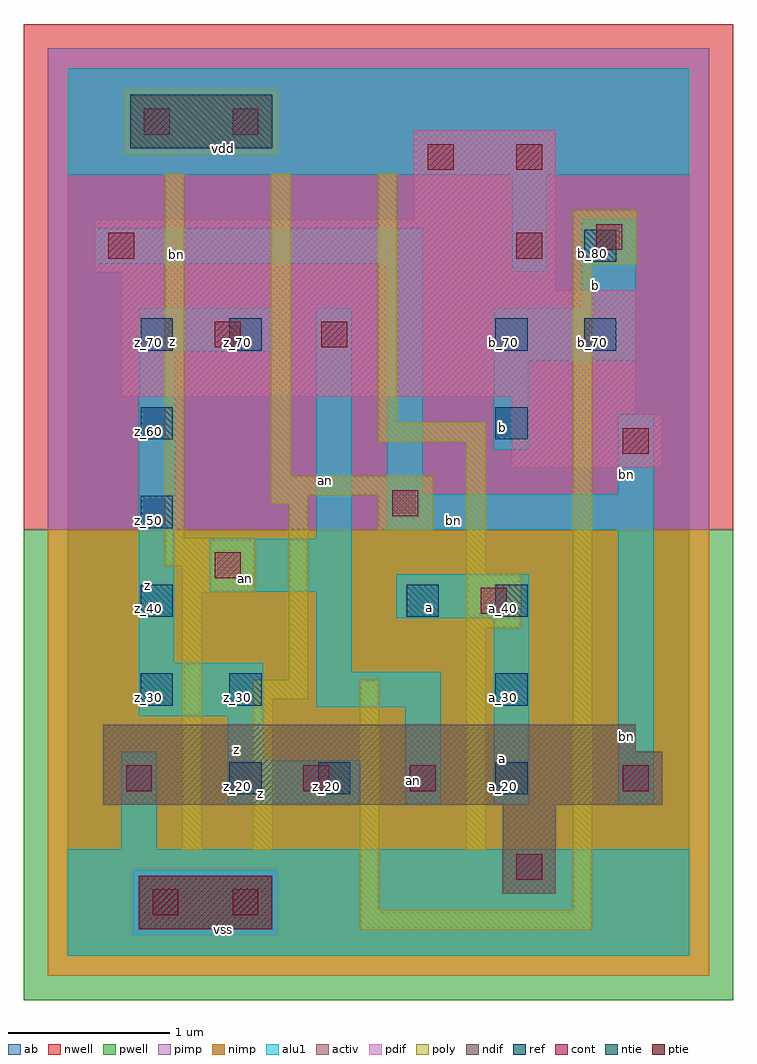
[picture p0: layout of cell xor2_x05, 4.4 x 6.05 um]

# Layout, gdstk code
import gdstk
lib = gdstk.Library(unit=1e-6, precision=2.5e-09)
def R(c, l, rs):  # rectangles x0, y0, x1, y1
    for r in rs: c.add(gdstk.rectangle(r[:2], r[2:], *l))
def A(c, l, x, y, w, h, nx, ny, dx, dy):  # array of equal rectangles
    R(c, l, [(x+i*dx, y+j*dy, x+i*dx+w, y+j*dy+h) for i in range(nx) for j in range(ny)])
ndif = (3, 0)
pdif = (4, 0)
ntie = (5, 0)
ptie = (6, 0)
ref = (24, 0)
cont = (25, 0)
pwell = (41, 0)
nwell = (42, 0)
activ = (43, 0)
pimp = (44, 0)
nimp = (45, 0)
poly = (46, 0)
alu1 = (49, 0)
ab = (63, 0)

xor2_x05 = lib.new_cell('xor2_x05')
R(xor2_x05, ndif, [(2.695,0.385,3.025,0.935), (0.22,0.935,3.685,1.265), (0.22,1.265,3.52,1.43)])
R(xor2_x05, pdif, [(2.75,3.025,3.685,3.355), (2.75,3.355,3.52,3.465), (0.33,3.465,3.52,4.125), (0.33,4.125,3.025,4.235), (0.165,4.235,3.025,4.565), (2.145,4.565,3.025,5.115)])
R(xor2_x05, ntie, [(0.385,5.005,1.265,5.335)])
R(xor2_x05, ptie, [(0.44,0.165,1.265,0.495)])
A(xor2_x05, ref, 2.65, 1, 0.2, 0.2, 1, 3, 0, 0.55)
A(xor2_x05, ref, 0.45, 1.55, 0.2, 0.2, 1, 5, 0, 0.55)
R(xor2_x05, ref, [(1,1,1.2,1.2), (1.55,1,1.75,1.2), (1,1.55,1.2,1.75), (2.1,2.1,2.3,2.3), (2.65,3.2,2.85,3.4), (1,3.75,1.2,3.95), (2.65,3.75,2.85,3.95), (3.2,3.75,3.4,3.95), (3.2,4.3,3.4,4.5)])
R(xor2_x05, cont, [(0.525,0.25,0.685,0.41), (1.02,0.25,1.18,0.41), (2.78,0.47,2.94,0.63), (0.36,1.02,0.52,1.18), (1.46,1.02,1.62,1.18), (2.12,1.02,2.28,1.18), (3.44,1.02,3.6,1.18), (2.56,2.12,2.72,2.28), (0.91,2.34,1.07,2.5), (2.01,2.725,2.17,2.885), (3.44,3.11,3.6,3.27), (0.91,3.77,1.07,3.93), (1.57,3.77,1.73,3.93), (0.25,4.32,0.41,4.48), (2.78,4.32,2.94,4.48), (3.275,4.375,3.435,4.535), (2.23,4.87,2.39,5.03), (2.78,4.87,2.94,5.03), (0.47,5.09,0.63,5.25), (1.02,5.09,1.18,5.25)])
R(xor2_x05, pwell, [(-0.275,-0.275,4.125,2.64)])
R(xor2_x05, nwell, [(-0.275,2.64,4.125,5.775)])
R(xor2_x05, activ, [(0.44,0.165,1.265,0.495), (2.695,0.385,3.025,0.935), (0.22,0.935,3.685,1.265), (0.22,1.265,3.52,1.43), (2.75,3.025,3.685,3.355), (2.75,3.355,3.52,3.465), (0.33,3.465,3.52,4.125), (0.33,4.125,3.025,4.235), (0.165,4.235,3.025,4.565), (2.145,4.565,3.025,5.115), (0.385,5.005,1.265,5.335)])
R(xor2_x05, pimp, [(0.4,0.125,1.305,0.535), (-0.125,2.64,3.975,4.965), (-0.125,4.965,0.345,5.375), (1.305,4.965,3.975,5.375), (-0.125,5.375,3.975,5.625)])
R(xor2_x05, nimp, [(-0.125,-0.125,3.975,0.125), (-0.125,0.125,0.4,0.535), (1.305,0.125,3.975,0.535), (-0.125,0.535,3.975,2.64), (0.345,4.965,1.305,5.375)])
R(xor2_x05, poly, [(1.81,0.16,3.25,0.28), (1.81,0.28,1.93,1.71), (3.13,0.28,3.25,4.285), (0.71,0.655,0.83,2.25), (1.15,0.655,1.27,1.59), (2.47,0.655,2.59,2.03), (1.15,1.59,1.49,1.71), (1.37,1.71,1.49,2.8), (2.47,2.03,2.81,2.37), (0.71,2.25,1.16,2.415), (2.47,2.37,2.59,3.185), (0.6,2.415,1.16,2.59), (0.6,2.59,0.72,4.845), (1.92,2.635,2.26,2.855), (1.26,2.8,1.49,2.855), (1.26,2.855,2.26,2.975), (1.26,2.975,1.38,4.845), (1.92,3.185,2.59,3.305), (1.92,3.305,2.04,4.845), (3.13,4.285,3.525,4.625)])
R(xor2_x05, alu1, [(0,0,3.85,0.66), (0.33,0.66,0.55,1.265), (0.99,0.935,1.815,1.21), (2.09,0.935,2.31,1.54), (2.64,0.935,2.86,2.09), (3.41,0.935,3.63,2.64), (0.99,1.21,1.21,1.485), (0.44,1.485,1.21,1.815), (1.54,1.54,2.31,1.76), (1.54,1.76,1.76,2.255), (0.44,1.815,0.66,3.74), (2.035,2.09,2.86,2.365), (0.88,2.255,1.76,2.585), (1.54,2.585,1.76,4.015), (1.98,2.64,3.63,2.86), (1.98,2.86,2.2,4.29), (3.41,2.86,3.63,3.355), (2.64,3.135,2.86,3.685), (2.64,3.685,3.52,4.015), (0.44,3.74,1.265,4.015), (3.19,4.015,3.52,4.565), (2.75,4.235,2.97,4.84), (0.165,4.29,2.2,4.51), (0,4.84,3.85,5.5)])
R(xor2_x05, ab, [(0,0,3.85,5.5)])
xor2_x05.add(gdstk.Label('vss', (0.9625,0.165), layer=49, texttype=0))
xor2_x05.add(gdstk.Label('bn', (3.465,1.36), layer=49, texttype=0))
xor2_x05.add(gdstk.Label('a', (2.695,1.2225), layer=49, texttype=0))
xor2_x05.add(gdstk.Label('an', (2.145,1.085), layer=49, texttype=0))
xor2_x05.add(gdstk.Label('z', (1.195,1.0025), layer=49, texttype=0))
xor2_x05.add(gdstk.Label('z', (1.045,1.2775), layer=49, texttype=0))
xor2_x05.add(gdstk.Label('a', (2.24,2.1575), layer=49, texttype=0))
xor2_x05.add(gdstk.Label('an', (1.1,2.3375), layer=49, texttype=0))
xor2_x05.add(gdstk.Label('bn', (2.3925,2.695), layer=49, texttype=0))
xor2_x05.add(gdstk.Label('bn', (3.465,2.9825), layer=49, texttype=0))
xor2_x05.add(gdstk.Label('b', (2.695,3.2725), layer=49, texttype=0))
xor2_x05.add(gdstk.Label('b', (3.2725,4.1525), layer=49, texttype=0))
xor2_x05.add(gdstk.Label('an', (1.595,2.9425), layer=49, texttype=0))
xor2_x05.add(gdstk.Label('z', (0.495,2.295), layer=49, texttype=0))
xor2_x05.add(gdstk.Label('z', (0.645,3.8075), layer=49, texttype=0))
xor2_x05.add(gdstk.Label('bn', (0.6725,4.345), layer=49, texttype=0))
xor2_x05.add(gdstk.Label('vdd', (0.9625,5.005), layer=49, texttype=0))
xor2_x05.add(gdstk.Label('z_30', (1.05,1.6), layer=24, texttype=0))
xor2_x05.add(gdstk.Label('a_40', (2.15,2.15), layer=24, texttype=0))
xor2_x05.add(gdstk.Label('b_80', (3.25,4.35), layer=24, texttype=0))
xor2_x05.add(gdstk.Label('b_70', (2.7,3.8), layer=24, texttype=0))
xor2_x05.add(gdstk.Label('z_20', (1.6,1.05), layer=24, texttype=0))
xor2_x05.add(gdstk.Label('z_20', (1.05,1.05), layer=24, texttype=0))
xor2_x05.add(gdstk.Label('a_20', (2.7,1.05), layer=24, texttype=0))
xor2_x05.add(gdstk.Label('z_70', (1.05,3.8), layer=24, texttype=0))
xor2_x05.add(gdstk.Label('z_70', (0.5,3.8), layer=24, texttype=0))
xor2_x05.add(gdstk.Label('z_30', (0.5,1.6), layer=24, texttype=0))
xor2_x05.add(gdstk.Label('z_40', (0.5,2.15), layer=24, texttype=0))
xor2_x05.add(gdstk.Label('z_50', (0.5,2.7), layer=24, texttype=0))
xor2_x05.add(gdstk.Label('z_60', (0.5,3.25), layer=24, texttype=0))
xor2_x05.add(gdstk.Label('a_30', (2.7,1.6), layer=24, texttype=0))
xor2_x05.add(gdstk.Label('a_40', (2.7,2.15), layer=24, texttype=0))
xor2_x05.add(gdstk.Label('b_60', (2.7,3.25), layer=24, texttype=0))
xor2_x05.add(gdstk.Label('b_70', (3.25,3.8), layer=24, texttype=0))

lib.write_gds('xor2_x05.gds')
